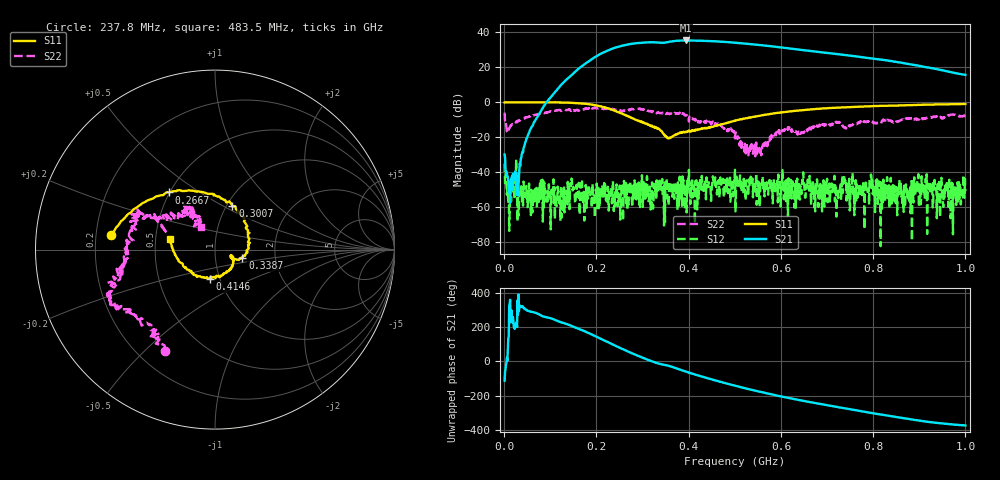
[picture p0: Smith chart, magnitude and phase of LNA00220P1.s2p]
! Created with skrf 1.9.0 (http://scikit-rf.org).
# Hz S RI R 50.0
!freq ReS11 ImS11 ReS21 ImS21 ReS12 ImS12 ReS22 ImS22
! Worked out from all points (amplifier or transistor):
!   1001 points, 1 MHz to 1 GHz, reference 50 ohm
!   highest |S21| = 35.3 dB at 394.6 MHz (marker M1)
!   |S21| within 3 dB of that: 255.9 MHz to 568 MHz (312.1 MHz wide, 75.8 % of centre)
!   unconditionally stable (mu >= 1): start of sweep to 86.81 MHz; 218.9 MHz to 298.4 MHz; 298.8 MHz to end of sweep (the widest 3 of 26)
!   at 166.8 MHz: K = 0.87, MSG = 33.3 dB, |S12| = -46.4 dB
!   at 500.5 MHz: K = 1.03, MAG = 35.2 dB, |S12| = -38.6 dB
!   at 1 GHz: K = 5.19, MAG = 23.1 dB, |S12| = -50.8 dB
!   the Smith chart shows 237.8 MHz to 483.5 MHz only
!   S11 on the Smith chart (normalised r, x): 237.8 MHz: 0.26, +0.06; 266.7 MHz: 0.50, +0.38; 300.7 MHz: 1.07, +0.55; 338.7 MHz: 1.35, -0.14; 414.6 MHz: 0.90, -0.30; 483.5 MHz: 0.59, +0.07
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1000000  0.9833 0.0155  -0.0127 -0.0296  -0.0173 0.00443  0.3442 0.3633
1.08892e8  0.5121 -0.847  -0.8591 -1.64  -0.00295 0.00233  0.424 -0.3707
1.67833e8  -0.25 -0.8887  -10.56 -0.4339  0.00358 0.00119  0.0419 -0.6334
2.07793e8  -0.6577 -0.4014  -16.39 16.91  0.000756 -0.00162  -0.1843 -0.6455
2.37763e8  -0.5809 0.0805  -3.056 35.07  -0.000376 -0.000684  -0.2764 -0.5632
2.66734e8  -0.2548 0.3183  22.9 37.89  -0.000656 -0.000507  -0.4689 -0.3404
3.007e8  0.0971 0.2412  47.21 17.49  -0.000992 -0.000243  -0.5756 -0.2058
3.18682e8  0.184 0.1073  51.62 1.721  -0.00198 0.00147  -0.5487 -0.1068
3.34666e8  0.1746 -0.0201  49.22 -11.16  -0.00318 0.00275  -0.4929 -0.0249
3.38662e8  0.1525 -0.0488  48.03 -13.59  0.00222 0.00588  -0.4829 -0.0317
3.68632e8  0.1018 -0.0481  45.1 -33.24  -0.0017 -0.00043  -0.4212 0.1708
3.94606e8  0.0558 -0.1311  28.72 -50.57  -0.000388 0.0026  -0.3936 0.1725
4.14586e8  -0.0278 -0.1623  12.69 -56.15  -0.000133 0.00564  -0.2443 0.1676
4.45555e8  -0.1602 -0.1031  -11.6 -54.64  0.00414 0.00203  -0.1596 0.2251
4.83517e8  -0.2524 0.058  -33.91 -39.94  0.00668 0.000341  -0.0804 0.1258
5.005e8  -0.2623 0.1516  -39.76 -30.88  0.0106 0.00499  -0.0413 0.0834
5.4046e8  -0.1772 0.3376  -43.88 -8.913  0.00455 -0.0025  -0.0143 0.0404
5.88412e8  0.0215 0.4864  -36.53 11.76  0.00235 -0.00322  -0.0973 -0.0802
6.67333e8  0.3921 0.4909  -14.42 24.69  -0.000429 -0.00235  -0.1903 -0.0324
7.53247e8  0.6716 0.2857  3.858 20.72  -0.00273 6.49e-05  -0.2143 0.0203
8.34166e8  0.7971 0.0243  11.26 10.44  0.0033 0.00272  -0.3033 -0.00385
1e9  0.7285 -0.5119  5.869 -1.376  -0.00111 -0.00267  -0.3239 0.2431
